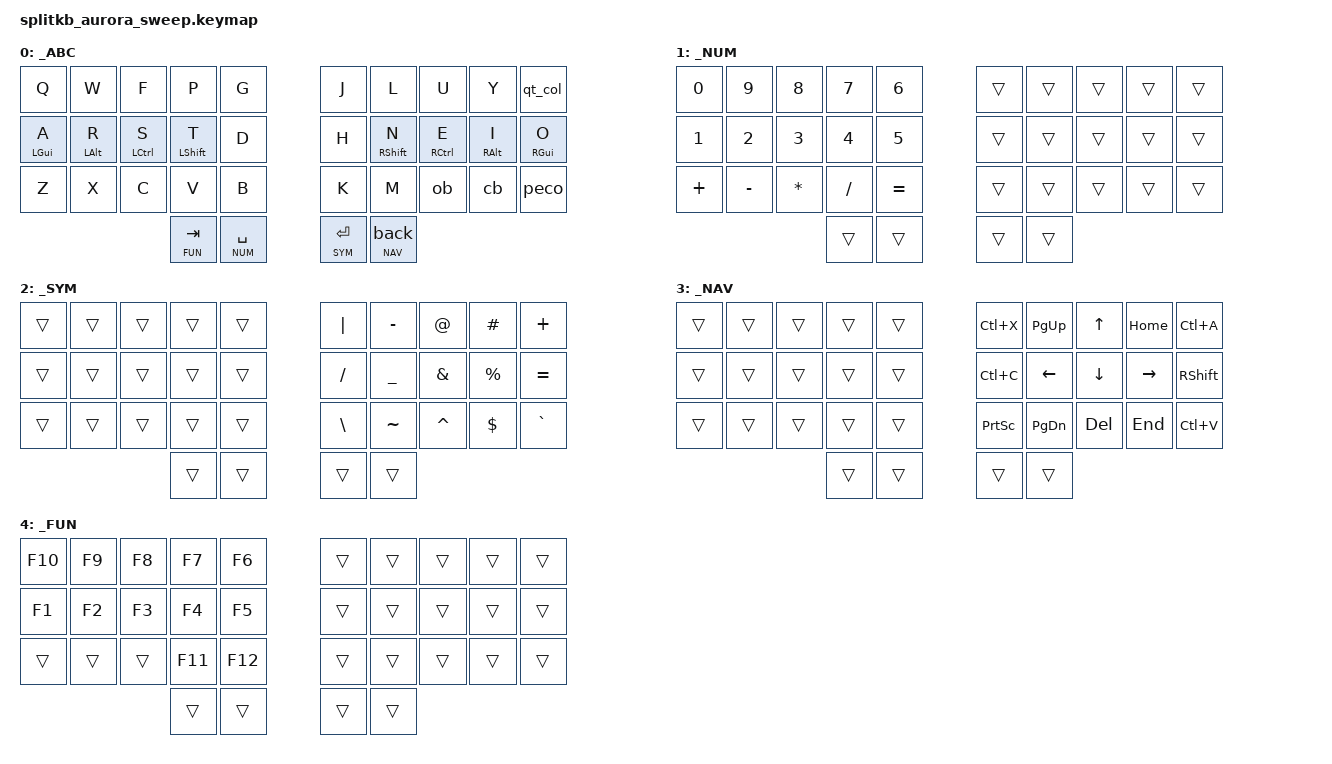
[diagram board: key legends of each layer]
/*
 * Copyright (c) 2022 The ZMK Contributors
 *
 * SPDX-License-Identifier: MIT
 */

#include <behaviors.dtsi>
#include <dt-bindings/zmk/keys.h>
#include <dt-bindings/zmk/bt.h>

// layer variables
#define ABC 0
#define NUM 1
#define SYM 2
#define NAV 3
#define FUN 4

/ {

    combos {
        compatible = "zmk,combos";
        combo_esc {
            timeout-ms = <50>;
            key-positions = <16 32>;
            bindings = <&kp ESC>;
            };
        };
    behaviors {
        hml: home_row_mod_left {
            compatible = "zmk,behavior-hold-tap";
            #binding-cells = <2>;
            flavor = "balanced";
            require-prior-idle-ms = <150>;
            tapping-term-ms = <280>;
            quick-tap-ms = <175>;
            bindings = <&kp>, <&kp>;
            hold-trigger-key-positions = <17 18 19 20 21 22 23 24 25 26 27 28 29 30 31 32 33>; // List of keys on the right side of the keyboard
            hold-trigger-on-release;
        };
        hmr: home_row_mod_right {
            compatible = "zmk,behavior-hold-tap";
            #binding-cells = <2>;
            flavor = "balanced";
            require-prior-idle-ms = <150>;
            tapping-term-ms = <280>;
            quick-tap-ms = <175>;
            bindings = <&kp>, <&kp>;
            hold-trigger-key-positions = <0 1 2 3 4 5 6 7 8 9 10 11 12 13 14 15 16>; // List of keys on the left side of the keyboard
            hold-trigger-on-release;
        };
        clt: custom_layer_tap {
            compatible = "zmk,behavior-hold-tap";
            #binding-cells = <2>;
            flavor = "tap-preferred";
            tapping-term-ms = <200>;
            bindings = <&mo>, <&kp>;
            display-name = "Layer-Tap";
        };
        cltb: custom_layer_tap_behavior {
            compatible = "zmk,behavior-hold-tap";
            #binding-cells = <2>;
            flavor = "tap-preferred"; tapping-term-ms = <200>;
            bindings = <&mo>, <&back>;
        };
        qt_col: quote_colon_dance {
            compatible = "zmk,behavior-tap-dance";
            #binding-cells = <0>;
            tapping-term-ms = <200>;
            bindings = <&kp SEMI>, <&kp SQT>;
        };
        ob: opening_bracket {
            compatible = "zmk,behavior-tap-dance";
            #binding-cells = <0>;
            tapping-term-ms = <200>;
            bindings = <&kp LPAR>, <&kp LKBT>, <&kp LBRC>, <&kp LT>;
        };
        cb: closing_bracket {
            compatible = "zmk,behavior-tap-dance";
            #binding-cells = <0>;
            tapping-term-ms = <200>;
            bindings = <&kp RPAR>, <&kp RKBT>, <&kp RBRC>, <&kp GT>;
        };
        peco: period_comma {
            compatible = "zmk,behavior-tap-dance";
            #binding-cells = <0>;
            tapping-term-ms = <200>;
            bindings = <&kp DOT>, <&kp COMMA>;
        };
        exma: exclamation_mark {
            compatible = "zmk,behavior-mod-morph";
            #binding-cells = <0>;
            bindings = <&peco>, <&kp EXCL>;
            mods = <(MOD_LSFT|MOD_RSFT)>;
        };
        quma: question_mark {
            compatible = "zmk,behavior-mod-morph";
            #binding-cells = <0>;
            bindings = <&peco>, <&kp QMARK>;
            mods = <(MOD_LSFT|MOD_RSFT)>;
        };

        back: backspaced {
            compatible = "zmk,behavior-tap-dance";
            #binding-cells = <0>;
            tapping-term-ms = <200>;
            bindings = <&kp BSPC>, <&kp LC(BSPC)>;
        };
    };
    
     keymap {
        compatible = "zmk,keymap";
        abc_layer { // layer 1
            display-name = "_ABC";
            //,----------------------------------.   ,----------------------------------.
            //|   Q  |   W  |   F  |   P  |   G  |   |   J  |   L  |   U  |   Y  | :;"' |
            //|------+------+------+------+------|   |------+------+------+------+------|
            //,----------------------------------.   ,----------------------------------.
            //|   A  |   R  |   S  |   T  |   D  |   |   H  |   N  |   E  |   I  |   O  |
            //|------+------+------+------+------|   |------+------+------+------+------|
            //,----------------------------------.   ,----------------------------------.
            //|   Z  |   X  |   C  |   V  |   B  |   |   K  |   M  | ([{< | )]}> | .,!? |
            //|------+------+------+------+------|   |------+------+------+------+------|
            //          ,--------------.                           ,--------------.
            //          |  Tab | Space |                           | Enter| Bspc  |
            //          `--------------'                           `--------------'
            bindings = <
            &kp Q &kp W &kp F &kp P &kp G   &kp J &kp L &kp U &kp Y &qt_col
            &hml LGUI A &hml LALT R &hml LCTRL S &hml LSHFT T &kp D &kp H &hmr RSHFT N &hmr RCTRL E &hmr RALT I &hmr RGUI O
            &kp Z &kp X &kp C &kp V &kp B   &kp K &kp M &ob &cb &peco
            &clt FUN TAB &clt NUM SPACE               &clt SYM ENTER &cltb NAV 0
            >;
        };
        num_layer { // layer 2
            display-name = "_NUM";
            //,----------------------------------.   ,----------------------------------.
            //|   0  |   9  |   8  |   7  |   6  |   |      |      |      |      |      |
            //|------+------+------+------+------|   |------+------+------+------+------|
            //,----------------------------------.   ,----------------------------------.
            //|   1  |   2  |   3  |   4  |   5  |   |      |      |      |      |      |
            //|------+------+------+------+------|   |------+------+------+------+------|
            //,----------------------------------.   ,----------------------------------.
            //|   +  |   -  |   *  |   /  |   =  |   |      |      |      |      |      |
            //|------+------+------+------+------|   |------+------+------+------+------|
            //          ,--------------.                           ,--------------.
            //          |      | Lay 2 |                           | Enter| Bspc  |
            //          `--------------'                           `--------------'
            bindings = <
            &kp N0 &kp N9 &kp N8 &kp N7 &kp N6  &trans &trans &trans &trans &trans
            &kp N1 &kp N2 &kp N3 &kp N4 &kp N5  &trans &trans &trans &trans &trans
            &kp PLUS &kp MINUS &kp STAR &kp FSLH &kp EQUAL  &trans &trans &trans &trans &trans
            &trans &trans   &trans &trans
            >;
        };
        sym_layer { // layer 3
            display-name = "_SYM";
            //,----------------------------------.   ,----------------------------------.
            //|      |      |      |      |      |   |   |  |   -  |  @   |   #  |   +  |
            //|------+------+------+------+------|   |------+------+------+------+------|
            //,----------------------------------.   ,----------------------------------.
            //|      |      |      |      |      |   |  /   |   _  |   &  |   %  |   =  |
            //|------+------+------+------+------|   |------+------+------+------+------|
            //,----------------------------------.   ,----------------------------------.
            //|      |      |      |      |      |   |  \   |   ~  |   ^  |   $  |   `  |
            //|------+------+------+------+------|   |------+------+------+------+------|
            //          ,--------------.                           ,--------------.
            //          |      |       |                           | Lay 3|       |
            //          `--------------'                           `--------------'
            bindings = <
            &trans &trans &trans &trans &trans  &kp PIPE &kp MINUS &kp AT &kp HASH &kp PLUS
            &trans &trans &trans &trans &trans  &kp FSLH &kp UNDER &kp AMPS &kp PRCNT &kp EQUAL
            &trans &trans &trans &trans &trans  &kp BSLH &kp TILDE &kp CARET &kp DLLR &kp GRAVE
            &trans &trans &trans &trans
            >;
        };
        nav_layer { // layer 4
            display-name = "_NAV"; 
            //TODO: add mouse function
            //TODO: explore tap dance for arrow key navigation (document navigations)
            //,----------------------------------.   ,----------------------------------.
            //|      |      |      |      |      |   | CtX  |  PU  |  UP  |  HM  | CtA  |
            //|------+------+------+------+------|   |------+------+------+------+------|
            //,----------------------------------.   ,----------------------------------.
            //|      |      |      |      |      |   | CtC  |  LF  |  DW  |  RG  | shf  |
            //|------+------+------+------+------|   |------+------+------+------+------|
            //,----------------------------------.   ,----------------------------------.
            //|      |      |      |      |      |   |  PS  |  PD  |  DE  |  EN  | CtV  |
            //|------+------+------+------+------|   |------+------+------+------+------|
            //          ,--------------.                           ,--------------.
            //          |      |       |                           |      | Lay 4 |
            //          `--------------'                           `--------------'
            bindings = <
            &trans &trans &trans &trans &trans  &kp LC(X) &kp PG_UP &kp UP &kp HOME &kp LC(A)
            &trans &trans &trans &trans &trans  &kp LC(C) &kp LEFT &kp DOWN &kp RIGHT &kp RSHFT
            &trans &trans &trans &trans &trans  &kp PSCRN &kp PG_DN &kp DEL &kp END &kp LC(V)
            &trans &trans &trans &trans
            >;
        };
        fun_layer { // layer 5
            display-name = "_FUN";
            //TODO: add media control
            //TODO: add bluetooth control here
            //,----------------------------------.   ,----------------------------------.
            //|  F10 |  F9  |  F8  |  F7  |  F6  |   |      |      |      |      |      |
            //|------+------+------+------+------|   |------+------+------+------+------|
            //,----------------------------------.   ,----------------------------------.
            //|  F1  |  F2  |  F3  | F4   |  F5  |   |      |      |      |      |      |
            //|------+------+------+------+------|   |------+------+------+------+------|
            //,----------------------------------.   ,----------------------------------.
            //|      |      |      | F11  | F12  |   |      |      |      |      |      |
            //|------+------+------+------+------|   |------+------+------+------+------|
            //          ,--------------.                           ,--------------.
            //          |Lay 5 |       |                           |      |       |
            //          `--------------'                           `--------------'
            bindings = <
            &kp F10 &kp F9 &kp F8 &kp F7 &kp F6 &trans &trans &trans &trans &trans
            &kp F1 &kp F2 &kp F3 &kp F4 &kp F5  &trans &trans &trans &trans &trans
            &trans &trans &trans &kp F11 &kp F12    &trans &trans &trans &trans &trans
            &trans &trans &trans &trans
            >;
        };
    };
